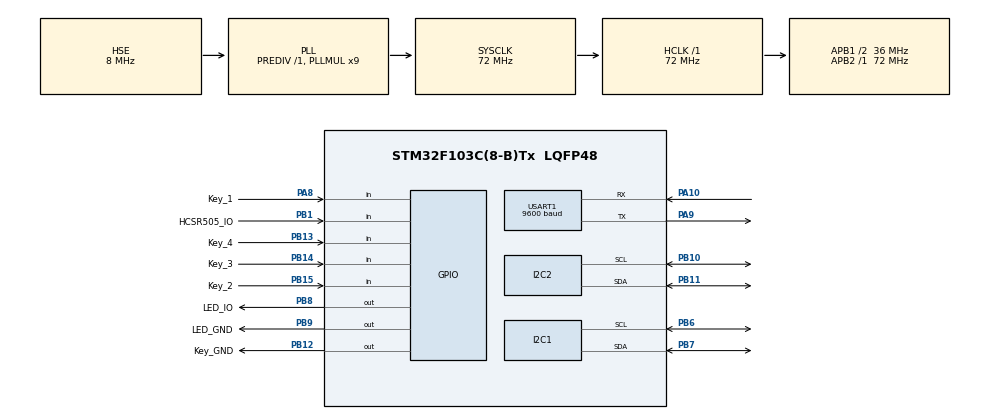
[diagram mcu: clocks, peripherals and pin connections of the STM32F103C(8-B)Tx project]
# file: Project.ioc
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Mcu.Family=STM32F1
Mcu.Name=STM32F103C(8-B)Tx
Mcu.Package=LQFP48
NVIC.PriorityGroup=NVIC_PRIORITYGROUP_4
PA10.Mode=Asynchronous
PA10.Signal=USART1_RX
PA8.GPIO_Label=Key_1
PA8.GPIO_PuPd=GPIO_PULLUP
PA8.Signal=GPIO_Input
PA9.Mode=Asynchronous
PA9.Signal=USART1_TX
PB1.GPIO_Label=HCSR505_IO
PB1.GPIO_PuPd=GPIO_PULLDOWN
PB1.Signal=GPIO_Input
PB10.Mode=I2C
PB10.Signal=I2C2_SCL
PB11.Mode=I2C
PB11.Signal=I2C2_SDA
PB12.GPIO_Label=Key_GND
PB12.GPIO_PuPd=GPIO_PULLDOWN
PB12.GPIO_Speed=GPIO_SPEED_FREQ_HIGH
PB12.Signal=GPIO_Output
PB13.GPIO_Label=Key_4
PB13.GPIO_PuPd=GPIO_PULLUP
PB13.Signal=GPIO_Input
PB14.GPIO_Label=Key_3
PB14.GPIO_PuPd=GPIO_PULLUP
PB14.Signal=GPIO_Input
PB15.GPIO_Label=Key_2
PB15.GPIO_PuPd=GPIO_PULLUP
PB15.Signal=GPIO_Input
PB6.Mode=I2C
PB6.Signal=I2C1_SCL
PB7.Mode=I2C
PB7.Signal=I2C1_SDA
PB8.GPIO_Label=LED_IO
PB8.GPIO_PuPd=GPIO_PULLDOWN
PB8.GPIO_Speed=GPIO_SPEED_FREQ_HIGH
PB8.Signal=GPIO_Output
PB9.GPIO_Label=LED_GND
PB9.GPIO_PuPd=GPIO_PULLDOWN
PB9.GPIO_Speed=GPIO_SPEED_FREQ_HIGH
PB9.Signal=GPIO_Output
PC14-OSC32_IN.Mode=LSE-External-Oscillator
PC14-OSC32_IN.Signal=RCC_OSC32_IN
PC15-OSC32_OUT.Mode=LSE-External-Oscillator
PC15-OSC32_OUT.Signal=RCC_OSC32_OUT
PD0-OSC_IN.Mode=HSE-External-Oscillator
PD0-OSC_IN.Signal=RCC_OSC_IN
PD1-OSC_OUT.Mode=HSE-External-Oscillator
PD1-OSC_OUT.Signal=RCC_OSC_OUT
ProjectManager.HeapSize=0x200
ProjectManager.StackSize=0x400
ProjectManager.TargetToolchain=MDK-ARM V5.32
RCC.AHBFreq_Value=72000000
RCC.APB1CLKDivider=RCC_HCLK_DIV2
RCC.APB1Freq_Value=36000000
RCC.APB1TimFreq_Value=72000000
RCC.APB2Freq_Value=72000000
RCC.APB2TimFreq_Value=72000000
RCC.HCLKFreq_Value=72000000
RCC.PLLMUL=RCC_PLL_MUL9
RCC.PLLSourceVirtual=RCC_PLLSOURCE_HSE
RCC.SYSCLKFreq_VALUE=72000000
RCC.SYSCLKSource=RCC_SYSCLKSOURCE_PLLCLK
RCC.USBFreq_Value=72000000
TIM1.Prescaler=71
USART1.BaudRate=9600
USART1.VirtualMode=VM_ASYNC
VP_SYS_VS_ND.Mode=No_Debug
VP_TIM1_VS_ClockSourceINT.Mode=Internal
board=custom

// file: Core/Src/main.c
/* USER CODE BEGIN Header */
/**
 ******************************************************************************
 * @file           : main.c
 * @brief          : Main program body
 ******************************************************************************
 * @attention
 *
 * Copyright (c) 2023 STMicroelectronics.
 * All rights reserved.
 *
 * This software is licensed under terms that can be found in the LICENSE file
 * in the root directory of this software component.
 * If no LICENSE file comes with this software, it is provided AS-IS.
 *
 ******************************************************************************
 */
/* USER CODE END Header */
#include "main.h"
#include "i2c.h"
#include "tim.h"
#include "usart.h"
#include "gpio.h"

/* USER CODE BEGIN Includes */
#include "stdio.h"
#include "bmp280.h"
#include "sgp30.h"
/* USER CODE END Includes */

/* USER CODE BEGIN PV */
BMP280_HandleTypedef bmp280;
float pressure, temperature, humidity;
uint16_t sizeValue;
uint8_t dataValue[256];
/* USER CODE END PV */

void SystemClock_Config(void);

int main(void)
{
  /* USER CODE BEGIN 1 */
  float temperatureValue = 0;
  float pressureValue = 0;
  float formaldehydeValue = 0;
  uint8_t standardTemperatureValue = 30;
  float standardformaldehydeValue = 0.08;
  /* USER CODE END 1 */

  /* MCU Configuration--------------------------------------------------------*/

  /* Reset of all peripherals, Initializes the Flash interface and the Systick. */
  HAL_Init();

  /* Configure the system clock */
  SystemClock_Config();

  /* Initialize all configured peripherals */
  MX_GPIO_Init();
  MX_I2C1_Init();
  MX_I2C2_Init();
  MX_USART1_UART_Init();
  MX_TIM1_Init();
  /* USER CODE BEGIN 2 */
  bmp280_init_default_params(&bmp280.params);
  bmp280.addr = BMP280_I2C_ADDRESS_0;
  bmp280.i2c = &hi2c1;
  while (!bmp280_init(&bmp280, &bmp280.params))
  {
    sizeValue = sprintf((char *)dataValue, "BMP280 initialization failed\n");
    HAL_Delay(2000);
  }
  bool bme280p = bmp280.id == BME280_CHIP_ID;
  sizeValue = sprintf((char *)dataValue, "BMP280: found %s\n", bme280p ? "BME280" : "BMP280");

  SGP30_Init();
  /* USER CODE END 2 */

  /* Infinite loop */
  /* USER CODE BEGIN WHILE */
  while (1)
  {
    if (HAL_GPIO_ReadPin(HCSR505_IO_GPIO_Port, HCSR505_IO_Pin) == GPIO_PIN_SET)
    {
      while (!bmp280_read_float(&bmp280, &temperature, &pressure, &humidity))
      {
        sizeValue = sprintf((char *)dataValue, "Temperature/pressure reading failed!\n");
        HAL_Delay(2000);
      }
      sizeValue = sprintf((char *)dataValue, "Pressure: %.2f Pa, Temperature: %.2f C", pressure, temperature);
      if (bme280p)
      {
        sizeValue = sprintf((char *)dataValue, ", Humidity: %.2f\n", humidity);
        HAL_UART_Transmit(&huart1, dataValue, sizeValue, 1000);
      }
      else
      {
        sizeValue = sprintf((char *)dataValue, "\n");
      }

      temperatureValue = temperature;
      pressureValue = pressure / 1000;

      formaldehydeValue = SGP30_GetCO2andVOC() / 1000;

      printf("*-----*-----*-----*-----*-----*\n");
      printf("Current Temperature: %.2f C\n", temperatureValue);
      printf("Current Pressure: %.3f kPa\n", pressureValue);
      printf("Current Formaldehyde: %.2f ppm\n", formaldehydeValue);
      printf("*-----*-----*-----*-----*-----*\n");

      if (temperatureValue > standardTemperatureValue || formaldehydeValue > standardformaldehydeValue)
      {
        HAL_GPIO_WritePin(LED_IO_GPIO_Port, LED_IO_Pin, GPIO_PIN_SET);
        HAL_Delay(100);
        HAL_GPIO_TogglePin(LED_IO_GPIO_Port, LED_IO_Pin);
      }
    }

    if (HAL_GPIO_ReadPin(Key_1_GPIO_Port, Key_1_Pin) == GPIO_PIN_RESET)
    {
      while (!bmp280_read_float(&bmp280, &temperature, &pressure, &humidity))
      {
        sizeValue = sprintf((char *)dataValue, "Temperature/pressure reading failed!\n");
        HAL_Delay(2000);
      }
      sizeValue = sprintf((char *)dataValue, "Pressure: %.2f Pa, Temperature: %.2f C", pressure, temperature);
      if (bme280p)
      {
        sizeValue = sprintf((char *)dataValue, ", Humidity: %.2f\n", humidity);
        HAL_UART_Transmit(&huart1, dataValue, sizeValue, 1000);
      }
      else
      {
        sizeValue = sprintf((char *)dataValue, "\n");
      }

      temperatureValue = temperature;
      pressureValue = pressure / 1000;

      formaldehydeValue = SGP30_GetCO2andVOC() / 1000;

      printf("*-----*-----*-----*-----*-----*\n");
      printf("Current Temperature: %.2f C\n", temperatureValue);
      printf("Current Pressure: %.3f kPa\n", pressureValue);
      printf("Current Formaldehyde: %.2f ppm\n", formaldehydeValue);
      printf("*-----*-----*-----*-----*-----*\n");

      if (temperatureValue > standardTemperatureValue || formaldehydeValue > standardformaldehydeValue)
      {
        HAL_GPIO_WritePin(LED_IO_GPIO_Port, LED_IO_Pin, GPIO_PIN_SET);
        HAL_Delay(100);
        HAL_GPIO_TogglePin(LED_IO_GPIO_Port, LED_IO_Pin);
      }
    }

    HAL_Delay(1000);
    /* USER CODE END WHILE */

  }
}

void SystemClock_Config(void)
{
  RCC_OscInitTypeDef RCC_OscInitStruct = {0};
  RCC_ClkInitTypeDef RCC_ClkInitStruct = {0};

  /** Initializes the RCC Oscillators according to the specified parameters
   * in the RCC_OscInitTypeDef structure.
   */
  RCC_OscInitStruct.OscillatorType = RCC_OSCILLATORTYPE_HSE;
  RCC_OscInitStruct.HSEState = RCC_HSE_ON;
  RCC_OscInitStruct.HSEPredivValue = RCC_HSE_PREDIV_DIV1;
  RCC_OscInitStruct.HSIState = RCC_HSI_ON;
  RCC_OscInitStruct.PLL.PLLState = RCC_PLL_ON;
  RCC_OscInitStruct.PLL.PLLSource = RCC_PLLSOURCE_HSE;
  RCC_OscInitStruct.PLL.PLLMUL = RCC_PLL_MUL9;
  if (HAL_RCC_OscConfig(&RCC_OscInitStruct) != HAL_OK)
  {
    Error_Handler();
  }

  /** Initializes the CPU, AHB and APB buses clocks
   */
  RCC_ClkInitStruct.ClockType = RCC_CLOCKTYPE_HCLK | RCC_CLOCKTYPE_SYSCLK | RCC_CLOCKTYPE_PCLK1 | RCC_CLOCKTYPE_PCLK2;
  RCC_ClkInitStruct.SYSCLKSource = RCC_SYSCLKSOURCE_PLLCLK;
  RCC_ClkInitStruct.AHBCLKDivider = RCC_SYSCLK_DIV1;
  RCC_ClkInitStruct.APB1CLKDivider = RCC_HCLK_DIV2;
  RCC_ClkInitStruct.APB2CLKDivider = RCC_HCLK_DIV1;

  if (HAL_RCC_ClockConfig(&RCC_ClkInitStruct, FLASH_LATENCY_2) != HAL_OK)
  {
    Error_Handler();
  }
}

void Error_Handler(void)
{
  __disable_irq();
  while (1)
  {
  }
}
